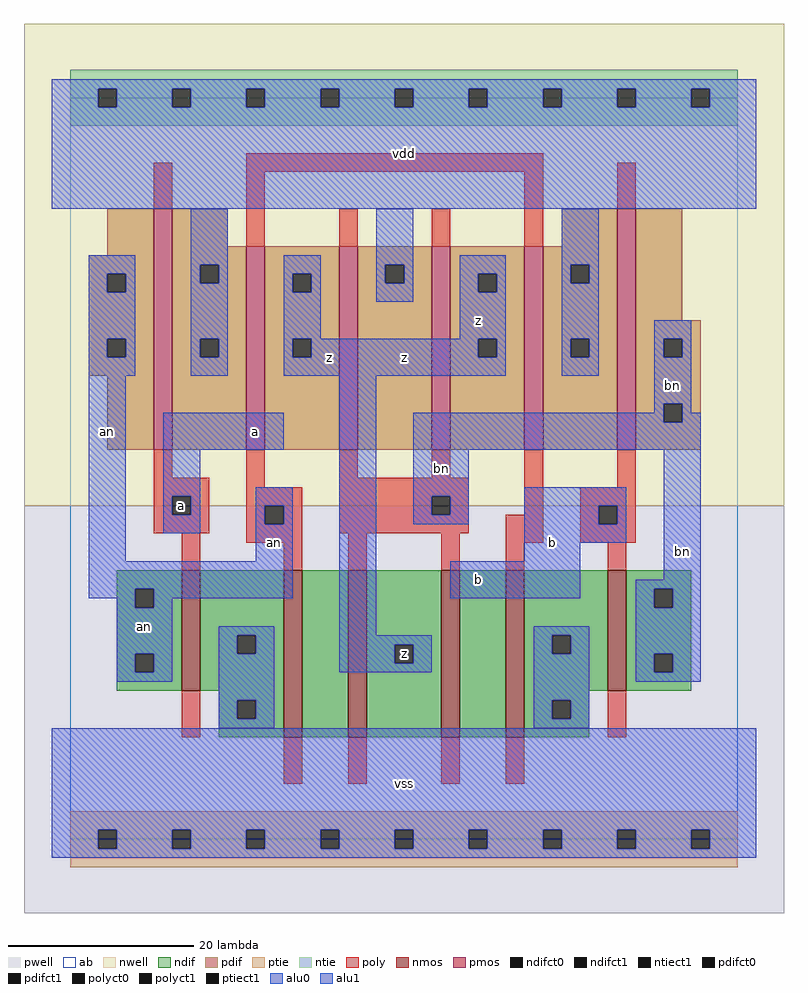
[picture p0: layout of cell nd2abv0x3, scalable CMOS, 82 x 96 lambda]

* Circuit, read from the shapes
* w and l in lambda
.subckt nd2abv0x3 a an b bn vdd vss z
M1 vss a an vss nfet w=13 l=2
M2 n1 an vss vss nfet w=18 l=2
M3 z bn n1 vss nfet w=18 l=2
M4 n2 bn z vss nfet w=18 l=2
M5 vss an n2 vss nfet w=18 l=2
M6 bn b vss vss nfet w=13 l=2
M7 vdd a an vdd pfet w=26 l=2
M8 z an vdd vdd pfet w=22 l=2 m=2
M9 vdd bn z vdd pfet w=22 l=2 m=2
M10 bn b vdd vdd pfet w=26 l=2
.ends

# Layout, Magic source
magic
tech scmos
<< ab >>
rect 0 0 72 80
<< nwell >>
rect -5 36 77 88
<< pwell >>
rect -5 -8 77 36
<< poly >>
rect 9 68 11 73
rect 19 72 51 74
rect 19 64 21 72
rect 29 64 31 68
rect 39 64 41 68
rect 49 64 51 72
rect 59 68 61 73
rect 9 39 11 42
rect 9 37 15 39
rect 9 35 11 37
rect 13 35 15 37
rect 9 33 15 35
rect 19 38 21 42
rect 29 39 31 42
rect 39 39 41 42
rect 19 36 25 38
rect 19 34 21 36
rect 23 34 25 36
rect 12 29 14 33
rect 19 32 25 34
rect 29 37 43 39
rect 29 35 39 37
rect 41 35 43 37
rect 49 35 51 42
rect 59 38 61 42
rect 29 33 43 35
rect 23 29 25 32
rect 30 29 32 33
rect 40 29 42 33
rect 47 32 51 35
rect 55 36 61 38
rect 55 34 57 36
rect 59 34 61 36
rect 55 32 61 34
rect 47 29 49 32
rect 58 29 60 32
rect 12 11 14 16
rect 58 11 60 16
rect 23 6 25 11
rect 30 6 32 11
rect 40 6 42 11
rect 47 6 49 11
<< ndif >>
rect 5 27 12 29
rect 5 25 7 27
rect 9 25 12 27
rect 5 20 12 25
rect 5 18 7 20
rect 9 18 12 20
rect 5 16 12 18
rect 14 22 23 29
rect 14 20 18 22
rect 20 20 23 22
rect 14 16 23 20
rect 16 15 23 16
rect 16 13 18 15
rect 20 13 23 15
rect 16 11 23 13
rect 25 11 30 29
rect 32 21 40 29
rect 32 19 35 21
rect 37 19 40 21
rect 32 11 40 19
rect 42 11 47 29
rect 49 22 58 29
rect 49 20 52 22
rect 54 20 58 22
rect 49 16 58 20
rect 60 27 67 29
rect 60 25 63 27
rect 65 25 67 27
rect 60 20 67 25
rect 60 18 63 20
rect 65 18 67 20
rect 60 16 67 18
rect 49 15 56 16
rect 49 13 52 15
rect 54 13 56 15
rect 49 11 56 13
<< pdif >>
rect 4 63 9 68
rect 2 61 9 63
rect 2 59 4 61
rect 6 59 9 61
rect 2 54 9 59
rect 2 52 4 54
rect 6 52 9 54
rect 2 50 9 52
rect 4 42 9 50
rect 11 64 17 68
rect 53 64 59 68
rect 11 62 19 64
rect 11 60 14 62
rect 16 60 19 62
rect 11 54 19 60
rect 11 52 14 54
rect 16 52 19 54
rect 11 42 19 52
rect 21 61 29 64
rect 21 59 24 61
rect 26 59 29 61
rect 21 54 29 59
rect 21 52 24 54
rect 26 52 29 54
rect 21 42 29 52
rect 31 62 39 64
rect 31 60 34 62
rect 36 60 39 62
rect 31 42 39 60
rect 41 61 49 64
rect 41 59 44 61
rect 46 59 49 61
rect 41 54 49 59
rect 41 52 44 54
rect 46 52 49 54
rect 41 42 49 52
rect 51 62 59 64
rect 51 60 54 62
rect 56 60 59 62
rect 51 54 59 60
rect 51 52 54 54
rect 56 52 59 54
rect 51 42 59 52
rect 61 56 66 68
rect 61 54 68 56
rect 61 52 64 54
rect 66 52 68 54
rect 61 47 68 52
rect 61 45 64 47
rect 66 45 68 47
rect 61 42 68 45
<< alu1 >>
rect -2 81 74 82
rect -2 79 3 81
rect 5 79 11 81
rect 13 79 19 81
rect 21 79 27 81
rect 29 79 35 81
rect 37 79 43 81
rect 45 79 51 81
rect 53 79 59 81
rect 61 79 67 81
rect 69 79 74 81
rect -2 68 74 79
rect 23 61 27 63
rect 23 59 24 61
rect 26 59 27 61
rect 23 54 27 59
rect 42 61 47 63
rect 42 59 44 61
rect 46 59 47 61
rect 42 54 47 59
rect 23 52 24 54
rect 26 52 44 54
rect 46 52 47 54
rect 23 50 47 52
rect 10 42 23 46
rect 10 37 14 42
rect 10 35 11 37
rect 13 35 14 37
rect 10 33 14 35
rect 29 22 33 50
rect 49 36 60 38
rect 49 34 57 36
rect 59 34 60 36
rect 49 32 60 34
rect 49 30 55 32
rect 41 26 55 30
rect 29 21 39 22
rect 29 19 35 21
rect 37 19 39 21
rect 29 18 39 19
rect -2 1 74 12
rect -2 -1 3 1
rect 5 -1 11 1
rect 13 -1 19 1
rect 21 -1 27 1
rect 29 -1 35 1
rect 37 -1 43 1
rect 45 -1 51 1
rect 53 -1 59 1
rect 61 -1 67 1
rect 69 -1 74 1
rect -2 -2 74 -1
<< ptie >>
rect 0 1 72 3
rect 0 -1 3 1
rect 5 -1 11 1
rect 13 -1 19 1
rect 21 -1 27 1
rect 29 -1 35 1
rect 37 -1 43 1
rect 45 -1 51 1
rect 53 -1 59 1
rect 61 -1 67 1
rect 69 -1 72 1
rect 0 -3 72 -1
<< ntie >>
rect 0 81 72 83
rect 0 79 3 81
rect 5 79 11 81
rect 13 79 19 81
rect 21 79 27 81
rect 29 79 35 81
rect 37 79 43 81
rect 45 79 51 81
rect 53 79 59 81
rect 61 79 67 81
rect 69 79 72 81
rect 0 77 72 79
<< nmos >>
rect 12 16 14 29
rect 23 11 25 29
rect 30 11 32 29
rect 40 11 42 29
rect 47 11 49 29
rect 58 16 60 29
<< pmos >>
rect 9 42 11 68
rect 19 42 21 64
rect 29 42 31 64
rect 39 42 41 64
rect 49 42 51 64
rect 59 42 61 68
<< polyct0 >>
rect 21 34 23 36
rect 39 35 41 37
<< polyct1 >>
rect 11 35 13 37
rect 57 34 59 36
<< ndifct0 >>
rect 7 25 9 27
rect 7 18 9 20
rect 18 20 20 22
rect 18 13 20 15
rect 52 20 54 22
rect 63 25 65 27
rect 63 18 65 20
rect 52 13 54 15
<< ndifct1 >>
rect 35 19 37 21
<< ntiect1 >>
rect 3 79 5 81
rect 11 79 13 81
rect 19 79 21 81
rect 27 79 29 81
rect 35 79 37 81
rect 43 79 45 81
rect 51 79 53 81
rect 59 79 61 81
rect 67 79 69 81
<< ptiect1 >>
rect 3 -1 5 1
rect 11 -1 13 1
rect 19 -1 21 1
rect 27 -1 29 1
rect 35 -1 37 1
rect 43 -1 45 1
rect 51 -1 53 1
rect 59 -1 61 1
rect 67 -1 69 1
<< pdifct0 >>
rect 4 59 6 61
rect 4 52 6 54
rect 14 60 16 62
rect 14 52 16 54
rect 34 60 36 62
rect 54 60 56 62
rect 54 52 56 54
rect 64 52 66 54
rect 64 45 66 47
<< pdifct1 >>
rect 24 59 26 61
rect 24 52 26 54
rect 44 59 46 61
rect 44 52 46 54
<< alu0 >>
rect 2 61 7 63
rect 2 59 4 61
rect 6 59 7 61
rect 2 54 7 59
rect 2 52 4 54
rect 6 52 7 54
rect 2 50 7 52
rect 13 62 17 68
rect 13 60 14 62
rect 16 60 17 62
rect 13 54 17 60
rect 13 52 14 54
rect 16 52 17 54
rect 13 50 17 52
rect 33 62 37 68
rect 33 60 34 62
rect 36 60 37 62
rect 33 58 37 60
rect 53 62 57 68
rect 53 60 54 62
rect 56 60 57 62
rect 53 54 57 60
rect 53 52 54 54
rect 56 52 57 54
rect 53 50 57 52
rect 63 54 67 56
rect 63 52 64 54
rect 66 52 67 54
rect 2 30 6 50
rect 20 36 24 38
rect 20 34 21 36
rect 23 34 24 36
rect 20 30 24 34
rect 2 27 24 30
rect 2 26 7 27
rect 5 25 7 26
rect 9 26 24 27
rect 9 25 11 26
rect 5 20 11 25
rect 5 18 7 20
rect 9 18 11 20
rect 5 17 11 18
rect 16 22 22 23
rect 16 20 18 22
rect 20 20 22 22
rect 16 15 22 20
rect 63 47 67 52
rect 63 46 64 47
rect 37 45 64 46
rect 66 46 67 47
rect 66 45 68 46
rect 37 42 68 45
rect 37 37 43 42
rect 37 35 39 37
rect 41 35 43 37
rect 37 34 43 35
rect 64 28 68 42
rect 61 27 68 28
rect 61 25 63 27
rect 65 25 68 27
rect 50 22 56 23
rect 50 20 52 22
rect 54 20 56 22
rect 16 13 18 15
rect 20 13 22 15
rect 16 12 22 13
rect 50 15 56 20
rect 61 20 68 25
rect 61 18 63 20
rect 65 18 68 20
rect 61 17 68 18
rect 50 13 52 15
rect 54 13 56 15
rect 50 12 56 13
<< labels >>
rlabel alu0 8 23 8 23 6 an
rlabel alu0 4 44 4 44 6 an
rlabel alu0 22 32 22 32 6 an
rlabel alu0 40 40 40 40 6 bn
rlabel alu0 65 49 65 49 6 bn
rlabel alu0 66 31 66 31 6 bn
rlabel polyct1 12 36 12 36 6 a
rlabel alu1 20 44 20 44 6 a
rlabel alu1 28 52 28 52 6 z
rlabel alu1 36 6 36 6 6 vss
rlabel ndifct1 36 20 36 20 6 z
rlabel alu1 44 28 44 28 6 b
rlabel alu1 52 32 52 32 6 b
rlabel alu1 36 52 36 52 6 z
rlabel alu1 44 56 44 56 6 z
rlabel alu1 36 74 36 74 6 vdd
<< end >>
